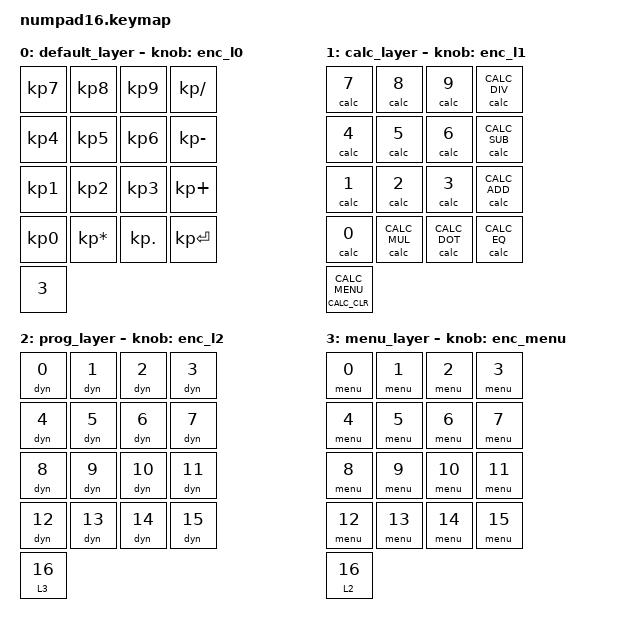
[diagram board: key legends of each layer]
#include <behaviors.dtsi>
#include <dt-bindings/zmk/keys.h>

#define CALC_DOT 10
#define CALC_ADD 11
#define CALC_SUB 12
#define CALC_MUL 13
#define CALC_DIV 14
#define CALC_EQ 15
#define CALC_CLR 16
#define CALC_CW 17
#define CALC_CCW 18
#define CALC_MENU 19

/ {
    behaviors {
        calc: calc {
            compatible = "zmk,behavior-calc";
            #binding-cells = <1>;
            display-name = "Calc";
        };

        dyn: dyn {
            compatible = "zmk,behavior-dyn";
            #binding-cells = <1>;
            display-name = "Dyn";
        };

        menu: menu {
            compatible = "zmk,behavior-menu";
            #binding-cells = <1>;
            display-name = "Menu";
        };

        ht_menu: ht_menu {
            compatible = "zmk,behavior-hold-tap";
            #binding-cells = <2>;
            flavor = "tap-preferred";
            tapping-term-ms = <600>;
            bindings = <&to>, <&dyn>;
        };

        ht_exit: ht_exit {
            compatible = "zmk,behavior-hold-tap";
            #binding-cells = <2>;
            flavor = "tap-preferred";
            tapping-term-ms = <600>;
            bindings = <&to>, <&menu>;
        };

        ht_calc: ht_calc {
            compatible = "zmk,behavior-hold-tap";
            #binding-cells = <2>;
            flavor = "tap-preferred";
            tapping-term-ms = <600>;
            bindings = <&calc>, <&calc>;
        };

        enc_l0: enc_l0 {
            compatible = "zmk,behavior-sensor-rotate";
            #sensor-binding-cells = <0>;
            bindings = <&to 1>, <&to 0>;
        };

        enc_l1: enc_l1 {
            compatible = "zmk,behavior-sensor-rotate";
            #sensor-binding-cells = <0>;
            bindings = <&calc CALC_CW>, <&calc CALC_CCW>;
        };

        enc_l2: enc_l2 {
            compatible = "zmk,behavior-sensor-rotate";
            #sensor-binding-cells = <0>;
            bindings = <&to 2>, <&to 1>;
        };

        enc_menu: enc_menu {
            compatible = "zmk,behavior-sensor-rotate";
            #sensor-binding-cells = <0>;
            bindings = <&menu 17>, <&menu 18>;
        };
    };

    keymap {
        compatible = "zmk,keymap";

        default_layer {
            bindings = <
                &kp KP_N7  &kp KP_N8        &kp KP_N9   &kp KP_DIVIDE
                &kp KP_N4  &kp KP_N5        &kp KP_N6   &kp KP_MINUS
                &kp KP_N1  &kp KP_N2        &kp KP_N3   &kp KP_PLUS
                &kp KP_N0  &kp KP_MULTIPLY  &kp KP_DOT  &kp KP_ENTER
                &kp N3
            >;

            sensor-bindings = <&enc_l0>;
        };

        calc_layer {
            bindings = <
                &calc 7  &calc 8         &calc 9         &calc CALC_DIV
                &calc 4  &calc 5         &calc 6         &calc CALC_SUB
                &calc 1  &calc 2         &calc 3         &calc CALC_ADD
                &calc 0  &calc CALC_MUL  &calc CALC_DOT  &calc CALC_EQ
                &ht_calc CALC_CLR CALC_MENU
            >;

            sensor-bindings = <&enc_l1>;
        };

        prog_layer {
            bindings = <
                &dyn 0   &dyn 1   &dyn 2   &dyn 3
                &dyn 4   &dyn 5   &dyn 6   &dyn 7
                &dyn 8   &dyn 9   &dyn 10  &dyn 11
                &dyn 12  &dyn 13  &dyn 14  &dyn 15
                &ht_menu 3 16
            >;

            sensor-bindings = <&enc_l2>;
        };

        menu_layer {
            bindings = <
                &menu 0   &menu 1   &menu 2   &menu 3
                &menu 4   &menu 5   &menu 6   &menu 7
                &menu 8   &menu 9   &menu 10  &menu 11
                &menu 12  &menu 13  &menu 14  &menu 15
                &ht_exit 2 16
            >;

            sensor-bindings = <&enc_menu>;
        };
    };
};
